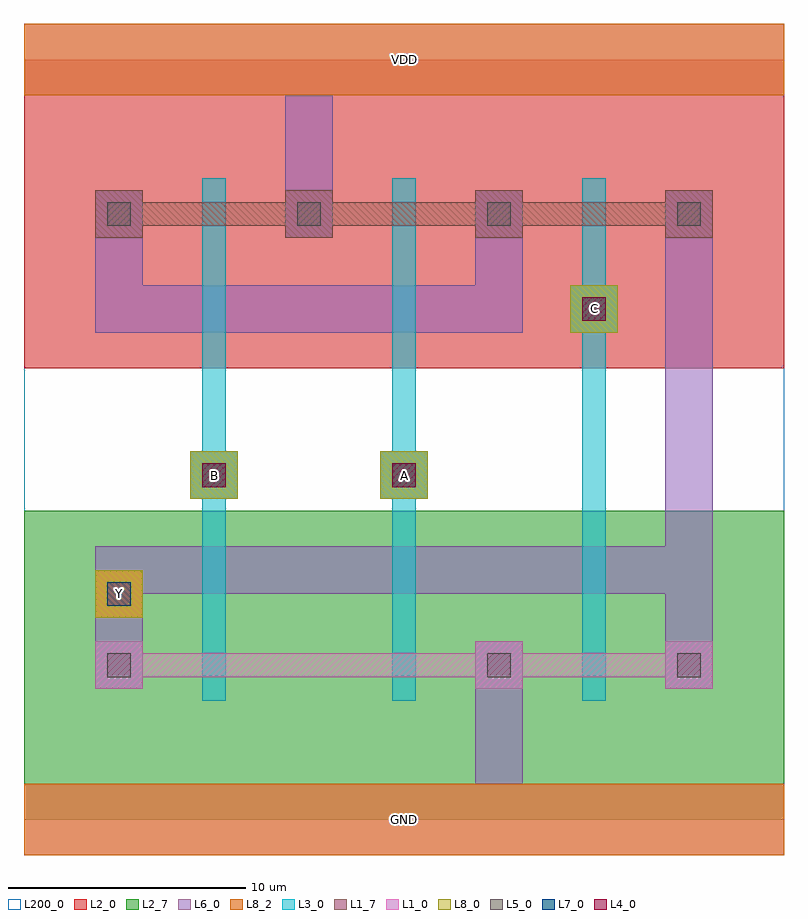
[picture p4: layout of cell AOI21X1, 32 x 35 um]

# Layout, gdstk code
import gdstk
lib = gdstk.Library(unit=1e-6, precision=1e-09)
def R(c, l, rs):  # rectangles x0, y0, x1, y1
    for r in rs: c.add(gdstk.rectangle(r[:2], r[2:], *l))
def A(c, l, x, y, w, h, nx, ny, dx, dy):  # array of equal rectangles
    R(c, l, [(x+i*dx, y+j*dy, x+i*dx+w, y+j*dy+h) for i in range(nx) for j in range(ny)])
def P(c, l, *ps):  # polygons
    for p in ps: c.add(gdstk.Polygon(p, *l))
L1_0 = (1, 0)
L1_7 = (1, 7)
L2_0 = (2, 0)
L2_7 = (2, 7)
L3_0 = (3, 0)
L4_0 = (4, 0)
L5_0 = (5, 0)
L6_0 = (6, 0)
L7_0 = (7, 0)
L8_0 = (8, 0)
L8_2 = (8, 2)
L200_0 = (200, 0)

aoi21x1 = lib.new_cell('AOI21X1')
P(aoi21x1, L1_0, [(3,5.5),(3,7.5),(5,7.5),(5,7),(19,7),(19,7.5),(21,7.5),(21,7),(27,7),(27,7.5),(29,7.5),(29,5.5),(27,5.5),(27,6),(21,6),(21,5.5),(19,5.5),(19,6),(5,6),(5,5.5)])
P(aoi21x1, L1_7, [(3,24.5),(3,26.5),(5,26.5),(5,26),(11,26),(11,26.5),(13,26.5),(13,26),(19,26),(19,26.5),(21,26.5),(21,26),(27,26),(27,26.5),(29,26.5),(29,24.5),(27,24.5),(27,25),(21,25),(21,24.5),(19,24.5),(19,25),(13,25),(13,24.5),(11,24.5),(11,25),(5,25),(5,24.5)])
R(aoi21x1, L2_0, [(0,19,32,32)])
R(aoi21x1, L2_7, [(0,0,32,13)])
P(aoi21x1, L3_0, [(7.5,5),(7.5,13.5),(7,13.5),(7,15.5),(7.5,15.5),(7.5,27),(8.5,27),(8.5,15.5),(9,15.5),(9,13.5),(8.5,13.5),(8.5,5)],
  [(15.5,5),(15.5,13.5),(15,13.5),(15,15.5),(15.5,15.5),(15.5,27),(16.5,27),(16.5,15.5),(17,15.5),(17,13.5),(16.5,13.5),(16.5,5)],
  [(23.5,5),(23.5,20.5),(23,20.5),(23,22.5),(23.5,22.5),(23.5,27),(24.5,27),(24.5,22.5),(25,22.5),(25,20.5),(24.5,20.5),(24.5,5)])
R(aoi21x1, L4_0, [(7.5,14,8.5,15), (15.5,14,16.5,15), (23.5,21,24.5,22)])
A(aoi21x1, L5_0, 3.5, 25, 1, 1, 4, 1, 8, 0)
R(aoi21x1, L5_0, [(3.5,6,4.5,7), (19.5,6,20.5,7), (27.5,6,28.5,7)])
R(aoi21x1, L6_0, [(7,13.5,9,15.5), (15,13.5,17,15.5), (23,20.5,25,22.5)])
P(aoi21x1, L6_0, [(0,-1.5),(0,1.5),(19,1.5),(19,7.5),(21,7.5),(21,1.5),(32,1.5),(32,-1.5)],
  [(3,20.5),(3,26.5),(5,26.5),(5,22.5),(19,22.5),(19,26.5),(21,26.5),(21,20.5)],
  [(3,5.5),(3,11.5),(27,11.5),(27,26.5),(29,26.5),(29,5.5),(27,5.5),(27,9.5),(5,9.5),(5,5.5)],
  [(11,24.5),(11,30.5),(0,30.5),(0,33.5),(32,33.5),(32,30.5),(13,30.5),(13,24.5)])
R(aoi21x1, L7_0, [(3.5,9,4.5,10), (7.5,14,8.5,15), (15.5,14,16.5,15), (23.5,21,24.5,22)])
R(aoi21x1, L8_0, [(3,8.5,5,10.5), (7,13.5,9,15.5), (15,13.5,17,15.5), (23,20.5,25,22.5)])
R(aoi21x1, L8_2, [(3,8.5,5,10.5), (7,13.5,9,15.5), (15,13.5,17,15.5), (23,20.5,25,22.5)])
R(aoi21x1, L200_0, [(0,0,32,32)])
aoi21x1.add(gdstk.FlexPath([(0,32),(32,32)], 3, ends="flush", simple_path=True, layer=8, datatype=2))  # L8_2
aoi21x1.add(gdstk.FlexPath([(0,0),(32,0)], 3, ends="flush", simple_path=True, layer=8, datatype=2))  # L8_2
aoi21x1.add(gdstk.Label('GND', (16,0), layer=6, texttype=1))
aoi21x1.add(gdstk.Label('VDD', (16,32), layer=6, texttype=1))
aoi21x1.add(gdstk.Label('B', (8,14.5), layer=8, texttype=1))
aoi21x1.add(gdstk.Label('A', (16,14.5), layer=8, texttype=1))
aoi21x1.add(gdstk.Label('C', (24,21.5), layer=8, texttype=1))
aoi21x1.add(gdstk.Label('Y', (4,9.5), layer=8, texttype=1))

lib.write_gds('AOI21X1.gds')
